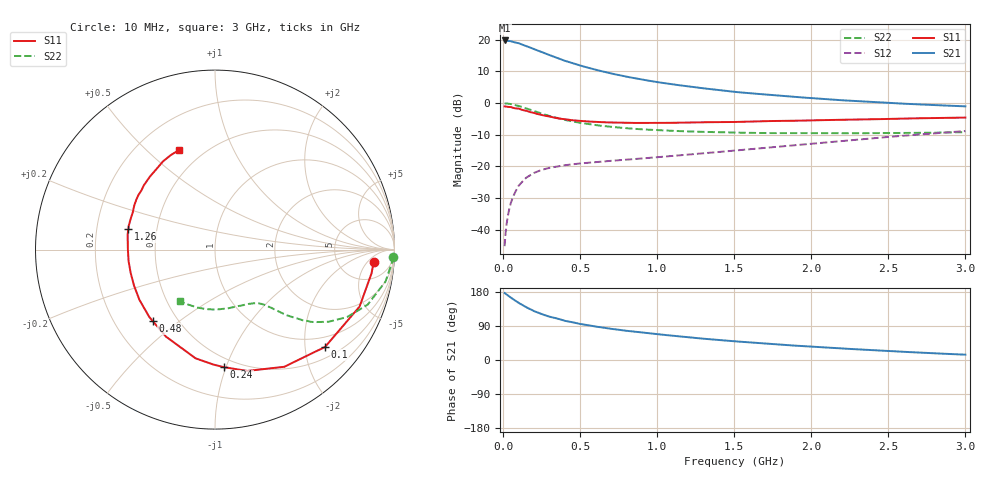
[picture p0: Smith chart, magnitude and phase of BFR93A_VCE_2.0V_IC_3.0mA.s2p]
! Infineon Technologies  Discrete & RF Semiconductors
! BFR93A
! VCE =  2.0 V,  IC =  3.0 mA
! Common Emitter S-Parameters:  Nov 2015
# GHz  S  MA  R  50
!  f  S11  S21  S12  S22
! GHz  MAG  ANG  MAG  ANG  MAG  ANG  MAG  ANG
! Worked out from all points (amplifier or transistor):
!   180 points, 10 MHz to 3 GHz, reference 50 ohm
!   highest |S21| = 19.8 dB at 10 MHz (marker M1)
!   |S21| within 3 dB of that: start of sweep to 216.3 MHz
!   unconditionally stable (mu >= 1): 867.6 MHz to 2.95 GHz
!   at 160 MHz: K = 0.25, MSG = 20.5 dB, |S12| = -23.3 dB
!   at 1.22 GHz: K = 1.14, MAG = 8.4 dB, |S12| = -16.2 dB
!   at 3 GHz: K = 0.99, MSG = 3.9 dB, |S12| = -8.8 dB
!   S11 on the Smith chart (normalised r, x): 10 MHz: 12, -8; 100 MHz: 0.74, -2.44; 240 MHz: 0.43, -0.98; 480 MHz: 0.37, -0.40; 1.26 GHz: 0.34, +0.10; 3 GHz: 0.37, +0.63
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0.01  0.8868 -4.4  9.74 176.7  0.0055 87.5  0.9917 -2.3
0.015  0.8839 -6.5  9.723 175.2  0.0081 85.7  0.9895 -3.3
0.025  0.8764 -10.7  9.658 172.1  0.0133 82.7  0.9834 -5.3
0.05  0.8658 -21.5  9.482 164.4  0.0263 78.5  0.9669 -10.6
0.1  0.8186 -41.5  8.827 151.0  0.049 68.0  0.9043 -19.8
0.15  0.7585 -59.4  7.968 139.0  0.0662 59.4  0.8259 -27.1
0.2  0.6996 -75.1  7.159 129.2  0.0788 53.5  0.75 -32.4
0.24  0.6568 -85.7  6.536 122.8  0.0861 49.6  0.6953 -35.5
0.26  0.6409 -90.7  6.256 119.8  0.0893 48.1  0.6708 -36.9
0.3  0.6154 -100.1  5.735 114.4  0.0948 45.7  0.6265 -38.9
0.4  0.5565 -119.4  4.661 103.5  0.1043 41.7  0.5428 -42.4
0.48  0.5278 -131.2  4.05 97.0  0.1099 40.3  0.4984 -44.0
0.52  0.5187 -136.6  3.793 93.9  0.1124 39.9  0.4795 -44.8
0.6  0.5056 -146.4  3.357 88.3  0.1169 39.5  0.448 -46.1
0.7  0.4937 -156.1  2.934 82.3  0.1224 40.0  0.421 -47.6
0.8  0.4874 -164.7  2.611 77.1  0.1277 40.9  0.4006 -49.2
1.02  0.4854 179.8  2.108 67.3  0.1409 43.2  0.3717 -53.5
1.26  0.4963 166.5  1.759 57.8  0.1577 46.0  0.3528 -59.4
1.52  0.5041 155.1  1.488 48.8  0.1792 48.4  0.3412 -67.0
2.02  0.535 137.3  1.189 34.7  0.2308 50.6  0.3335 -84.0
2.52  0.5632 122.8  1.003 23.4  0.2945 48.8  0.336 -103.2
3  0.59 109.9  0.887 14.1  0.3613 44.4  0.3473 -124.2
